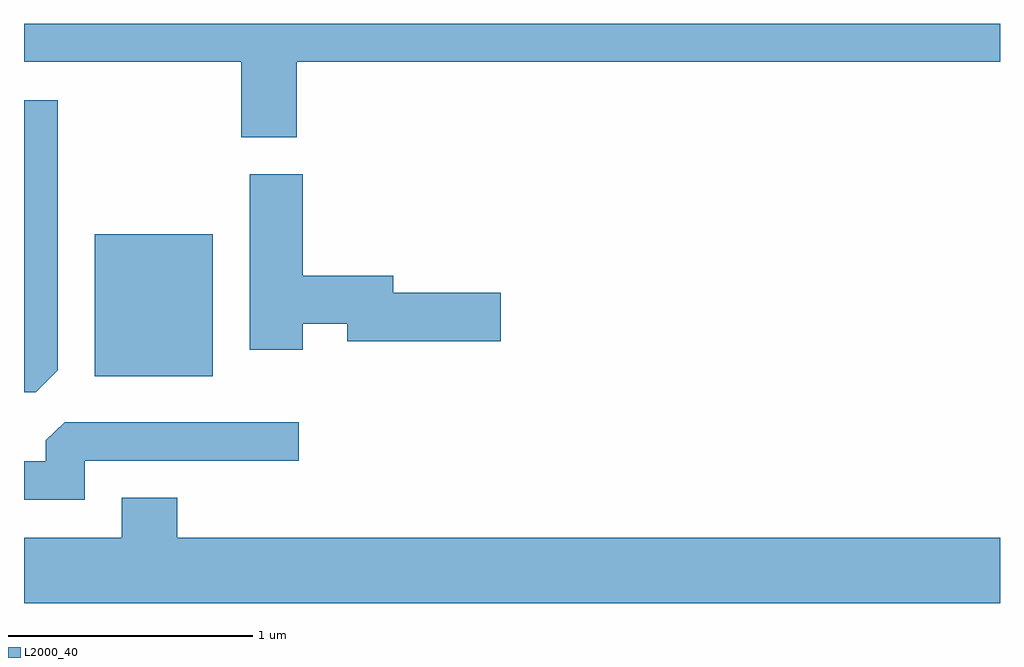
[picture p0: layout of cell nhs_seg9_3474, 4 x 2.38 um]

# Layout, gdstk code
import gdstk
lib = gdstk.Library(unit=1e-6, precision=1e-09)
def R(c, l, rs):  # rectangles x0, y0, x1, y1
    for r in rs: c.add(gdstk.rectangle(r[:2], r[2:], *l))
def P(c, l, *ps):  # polygons
    for p in ps: c.add(gdstk.Polygon(p, *l))
L2000_40 = (2000, 40)

nhs_seg9_3474 = lib.new_cell('nhs_seg9_3474')
R(nhs_seg9_3474, L2000_40, [(287.901,1974.986,288.384,1975.569)])
P(nhs_seg9_3474, L2000_40, [(288.729,1976.276),(291.611,1976.276),(291.611,1976.432),(287.611,1976.432),(287.611,1976.276),(288.501,1976.276),(288.501,1975.966),(288.729,1975.966)],
  [(287.749,1975.012),(287.749,1976.119),(287.611,1976.119),(287.611,1974.921),(287.659,1974.921)],
  [(288.754,1975.201),(288.936,1975.201),(288.936,1975.131),(289.564,1975.131),(289.564,1975.329),(289.124,1975.329),(289.124,1975.399),(288.754,1975.399),(288.754,1975.814),(288.536,1975.814),(288.536,1975.096),(288.754,1975.096)],
  [(287.859,1974.641),(288.738,1974.641),(288.738,1974.799),(287.777,1974.799),(287.701,1974.724),(287.701,1974.639),(287.611,1974.639),(287.611,1974.481),(287.859,1974.481)],
  [(291.611,1974.324),(288.239,1974.324),(288.239,1974.489),(288.011,1974.489),(288.011,1974.324),(287.611,1974.324),(287.611,1974.056),(291.611,1974.056)])

lib.write_gds('nhs_seg9_3474.gds')
